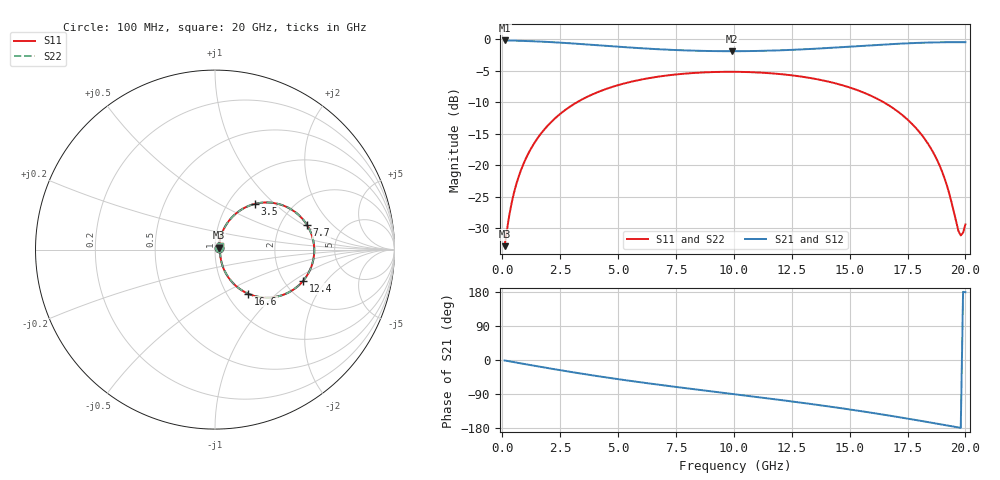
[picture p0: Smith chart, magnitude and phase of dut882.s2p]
! Touchstone file exported from HFSS 2026.1.0
!  File:  C:/ffzhzh/LocalFiles/Ansys_Project_Files/temp_train_TSV_RDL_882_1783273772_39728.aedt
!  Generated:  01:59:03 AM Jul  6, 2026
!  Design:  TSV_RDL
!  Project:  temp_train_TSV_RDL_882_1783273772_39728
! Variables:
!  h_bsmrdl = 3.83um
!  h_ox = 20um
!  h_rdl = 5um
!  h_sub = 60.68um
!  h_tmrdl = 4.14um
!  h_tsv = 60.68um
!  h_via = 3um
!  l_bsmrdl = 693.9um
!  l_sub = 3092.65um
!  l_tmrdl = 132.72um
!  m_sub = 200um
!  pitch = 37.27um
!  r_tsv = 8.51um
!  s_tmrdl = 10um
!  w_bsmrdl = 12.45um
!  w_sub = 500um
!  w_tmrdl = 14.24um
!  x_tsv_center1 = 139.84um
!  x_tsv_center2 = 846.19um
!  x_tsv_center3 = 993.15um
!  x_tsv_center4 = 1699.5um
!  x_tsv_center5 = 1846.46um
!  x_tsv_center6 = 2552.81um
# GHz S MA R 50.000000
! Terminal data exported
! Port[1] = TM_RDL1_1_T1
! Port[2] = TM_RDL5_1_T1
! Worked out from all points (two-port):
!   200 points, 100 MHz to 20 GHz, reference 50 ohm
!   highest |S21| = -0.17 dB at 100 MHz (marker M1); lowest = -1.9 dB at 9.9 GHz (marker M2)
!   |S21| within 3 dB of the highest: start of sweep to end of sweep
!   lowest |S11| = -32.8 dB at 100 MHz (marker M3), VSWR 1.05, Z = 52 + j1.17 ohm
!   |S11| at or under -10 dB: start of sweep to 3.218 GHz; 16.48 GHz to end of sweep
!   |S22| runs from -32.8 to -5.1 dB; largest |S21 - S12| = 1.9e-14
!   S11 on the Smith chart (normalised r, x): 100 MHz: 1.04, +0.02; 3.5 GHz: 1.32, +0.76; 7.7 GHz: 2.81, +1.07; 12.4 GHz: 2.52, -1.20; 16.6 GHz: 1.25, -0.68; 20 GHz: 1.06, +0.04
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0.1  0.02287 29.4  0.9802 -1.1  0.9802 -1.1  0.02287 29.4
! Gamma 0 0 0 0
! Port Impedance 50 0 50 0
0.3  0.03998 55.8  0.9789 -3.4  0.9789 -3.4  0.03998 55.8
0.5  0.06019 63.5  0.977 -5.6  0.977 -5.6  0.06019 63.5
0.8  0.09103 66.9  0.9736 -8.9  0.9736 -8.9  0.09103 66.9
1.2  0.1319 66.7  0.9682 -13.2  0.9682 -13.2  0.1319 66.7
2.2  0.2292 60.1  0.9491 -23.8  0.9491 -23.8  0.2292 60.1
3.5  0.3378 48.9  0.9156 -36.8  0.9156 -36.8  0.3378 48.9
6.8  0.508 21.6  0.834 -65.6  0.834 -65.6  0.508 21.7
7.7  0.5311 14.8  0.8198 -72.6  0.8198 -72.6  0.5311 14.9
9.9  0.553 -1.2  0.8055 -89.3  0.8055 -89.3  0.553 -1.2
10.1  0.5527 -2.6  0.8056 -90.8  0.8056 -90.8  0.5527 -2.6
12.4  0.5212 -19.5  0.824 -108.5  0.824 -108.5  0.5211 -19.4
13.4  0.4901 -27.1  0.8407 -116.6  0.8407 -116.6  0.4901 -27.1
15.1  0.4096 -40.7  0.8774 -131.4  0.8774 -131.4  0.4096 -40.7
16.6  0.3068 -53.2  0.9124 -145.6  0.9124 -145.6  0.3068 -53.1
16.7  0.2989 -54.0  0.9145 -146.5  0.9145 -146.5  0.2989 -53.9
17.6  0.2222 -61.0  0.9322 -155.6  0.9322 -155.6  0.2222 -60.9
18.4  0.1471 -65.4  0.9436 -164.0  0.9436 -164.0  0.1472 -65.2
19.1  0.07896 -63.0  0.9491 -171.5  0.9491 -171.5  0.07908 -62.7
19.7  0.03016 -22.7  0.95 -178.0  0.95 -178.0  0.03057 -22.3
19.8  0.02782 -3.6  0.9497 -179.1  0.9497 -179.1  0.02828 -3.5
20  0.03398 32.1  0.949 178.8  0.949 178.8  0.03438 31.7
